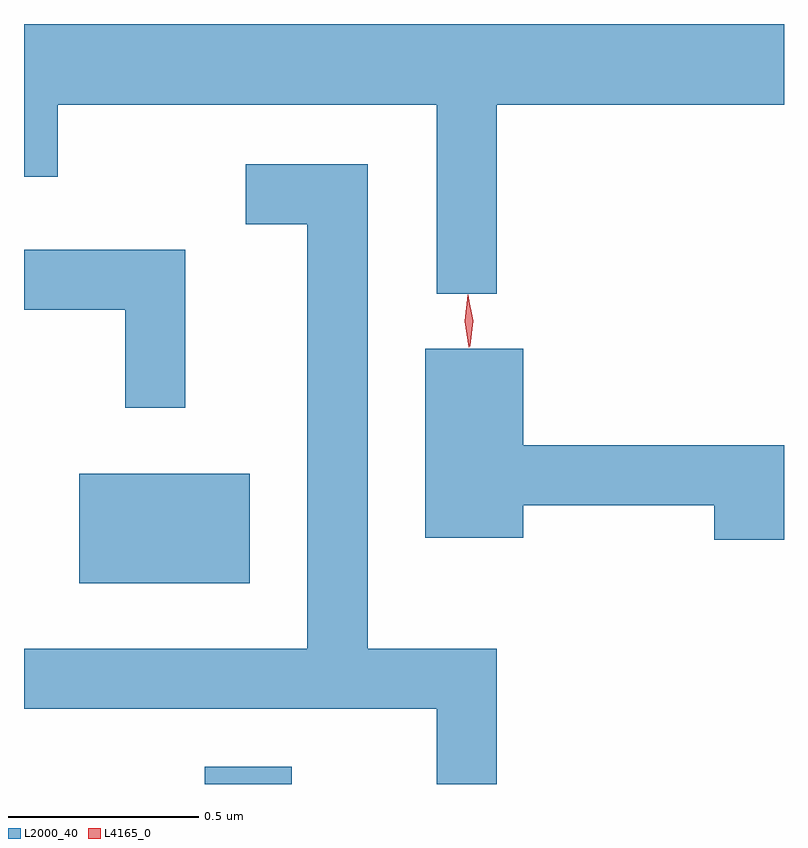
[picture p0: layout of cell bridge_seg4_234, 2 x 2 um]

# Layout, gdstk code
import gdstk
lib = gdstk.Library(unit=1e-6, precision=1e-09)
def R(c, l, rs):  # rectangles x0, y0, x1, y1
    for r in rs: c.add(gdstk.rectangle(r[:2], r[2:], *l))
def P(c, l, *ps):  # polygons
    for p in ps: c.add(gdstk.Polygon(p, *l))
L2000_40 = (2000, 40)
L4165_0 = (4165, 0)

bridge_seg4_234 = lib.new_cell('bridge_seg4_234')
R(bridge_seg4_234, L2000_40, [(730.446,1330.688,730.674,1330.734), (730.116,1331.216,730.564,1331.504)])
P(bridge_seg4_234, L2000_40, [(731.214,1332.476),(731.97,1332.476),(731.97,1332.688),(729.97,1332.688),(729.97,1332.286),(730.059,1332.286),(730.059,1332.476),(731.056,1332.476),(731.056,1331.978),(731.214,1331.978)],
  [(731.214,1331.044),(730.874,1331.044),(730.874,1332.319),(730.553,1332.319),(730.553,1332.161),(730.716,1332.161),(730.716,1331.044),(729.97,1331.044),(729.97,1330.886),(731.056,1330.886),(731.056,1330.688),(731.214,1330.688)],
  [(730.394,1332.094),(729.97,1332.094),(729.97,1331.936),(730.236,1331.936),(730.236,1331.678),(730.394,1331.678)],
  [(731.97,1331.579),(731.284,1331.579),(731.284,1331.834),(731.026,1331.834),(731.026,1331.336),(731.284,1331.336),(731.284,1331.421),(731.786,1331.421),(731.786,1331.331),(731.97,1331.331)])
P(bridge_seg4_234, L4165_0, [(731.141,1331.838),(731.13,1331.906),(731.138,1331.975),(731.139,1331.975),(731.139,1331.975),(731.15,1331.907),(731.142,1331.838),(731.142,1331.838)],
  [(731.144,1331.84),(731.143,1331.841),(731.131,1331.906),(731.138,1331.972),(731.139,1331.972),(731.139,1331.972),(731.152,1331.907),(731.144,1331.841)])

lib.write_gds('bridge_seg4_234.gds')
